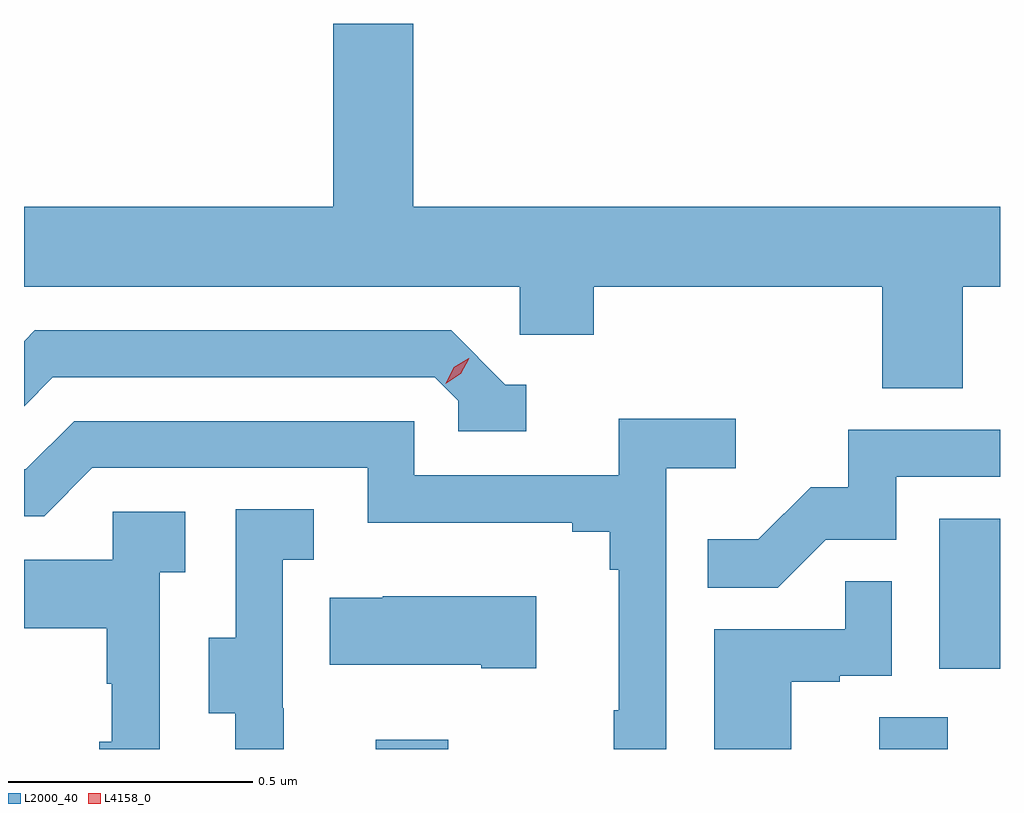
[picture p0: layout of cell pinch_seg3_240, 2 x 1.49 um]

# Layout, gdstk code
import gdstk
lib = gdstk.Library(unit=1e-6, precision=1e-09)
def R(c, l, rs):  # rectangles x0, y0, x1, y1
    for r in rs: c.add(gdstk.rectangle(r[:2], r[2:], *l))
def P(c, l, *ps):  # polygons
    for p in ps: c.add(gdstk.Polygon(p, *l))
L2000_40 = (2000, 40)
L4158_0 = (4158, 0)

pinch_seg3_240 = lib.new_cell('pinch_seg3_240')
R(pinch_seg3_240, L2000_40, [(908.351,739.929,908.499,739.948), (909.383,739.929,909.523,739.994), (909.506,740.094,909.63,740.401)])
P(pinch_seg3_240, L2000_40, [(909.554,740.876),(909.63,740.876),(909.63,741.04),(908.428,741.04),(908.428,741.415),(908.264,741.415),(908.264,741.04),(907.63,741.04),(907.63,740.876),(908.646,740.876),(908.646,740.778),(908.798,740.778),(908.798,740.876),(909.389,740.876),(909.389,740.668),(909.554,740.668)],
  [(908.659,740.676),(908.616,740.676),(908.505,740.787),(907.652,740.787),(907.63,740.765),(907.63,740.632),(907.689,740.691),(908.472,740.691),(908.52,740.643),(908.52,740.58),(908.659,740.58)],
  [(908.946,740.504),(909.088,740.504),(909.088,740.606),(908.849,740.606),(908.849,740.49),(908.43,740.49),(908.43,740.601),(907.733,740.601),(907.634,740.502),(907.63,740.502),(907.63,740.406),(907.671,740.406),(907.77,740.505),(908.334,740.505),(908.334,740.393),(908.753,740.393),(908.753,740.374),(908.83,740.374),(908.83,740.297),(908.849,740.297),(908.849,740.009),(908.838,740.009),(908.838,739.929),(908.946,739.929)],
  [(909.273,740.358),(909.417,740.358),(909.417,740.487),(909.63,740.487),(909.63,740.583),(909.319,740.583),(909.319,740.466),(909.242,740.466),(909.135,740.359),(909.031,740.359),(909.031,740.26),(909.175,740.26)],
  [(908.162,740.013),(908.16,740.013),(908.16,740.317),(908.224,740.317),(908.224,740.42),(908.064,740.42),(908.064,740.157),(908.009,740.157),(908.009,740.002),(908.063,740.002),(908.063,739.929),(908.162,739.929)],
  [(907.908,740.291),(907.96,740.291),(907.96,740.415),(907.812,740.415),(907.812,740.317),(907.63,740.317),(907.63,740.177),(907.8,740.177),(907.8,740.063),(907.81,740.063),(907.81,739.944),(907.784,739.944),(907.784,739.929),(907.908,739.929)],
  [(909.202,740.067),(909.302,740.067),(909.302,740.079),(909.408,740.079),(909.408,740.273),(909.313,740.273),(909.313,740.175),(909.044,740.175),(909.044,739.929),(909.202,739.929)],
  [(908.68,740.242),(908.365,740.242),(908.365,740.239),(908.257,740.239),(908.257,740.102),(908.567,740.102),(908.567,740.095),(908.68,740.095)])
P(pinch_seg3_240, L4158_0, [(908.494,740.678),(908.494,740.679),(908.511,740.711),(908.541,740.73),(908.542,740.73),(908.542,740.73),(908.525,740.698),(908.494,740.678)])

lib.write_gds('pinch_seg3_240.gds')
